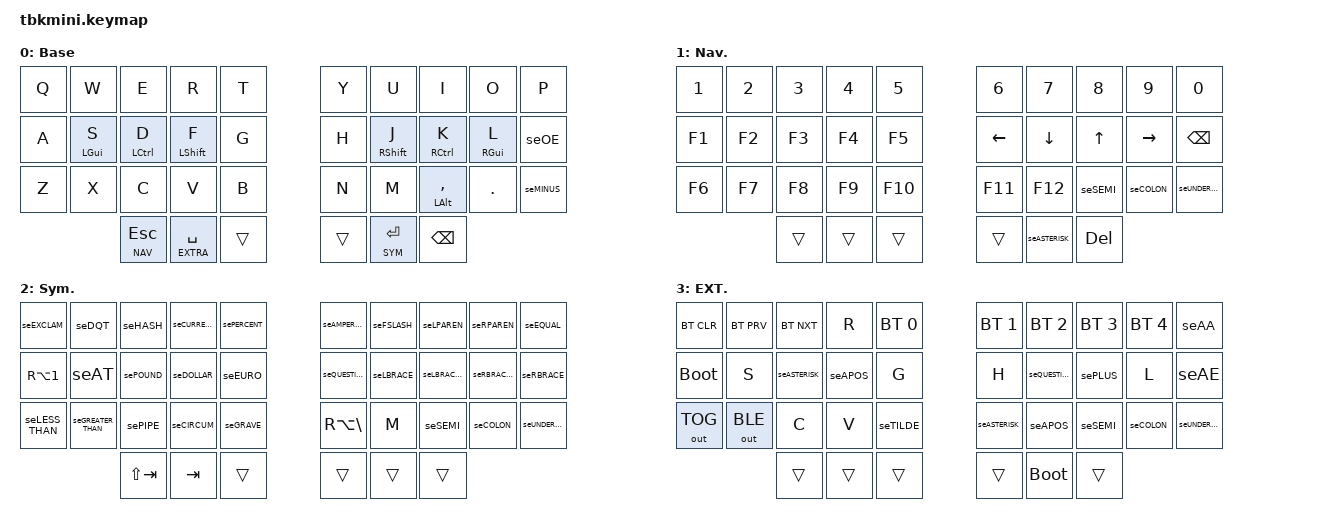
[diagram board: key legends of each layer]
#include <behaviors.dtsi>
#include <dt-bindings/zmk/keys.h>
#include <dt-bindings/zmk/bt.h>
#include <dt-bindings/zmk/outputs.h>
#include "swedish.dtsi"

#define DEFAULT 0
#define NAV 1
#define SYM 2
#define EXTRA 3

// &caps_word {
//    continue-list = <LSHIFT UNDERSCORE MINUS BSPC>;
// };

&sk {
	// don't release mods on other mods presses
	ignore-modifiers;
};

/ {
  chosen {
    zmk,matrix_transform = &skeletyl_transform;
  };


	behaviors {
		// Enables holding the first mod-tap key
		// by performing a tap-release-hold sequence.
		// To use it: "&qt KEYCODE1 KEYCODE2"
		/* qt: quick_tap {
			compatible = "zmk,behavior-hold-tap";
			label = "QUICK_TAP";
			#binding-cells = <2>;
			flavor = "hold-preferred";
			tapping-term-ms = <200>;
			quick-tap-ms = <200>;
			bindings = <&kp>, <&kp>;
		}; */
        bhm: balanced_homerow_mods {
            compatible = "zmk,behavior-hold-tap";
            #binding-cells = <2>;
            tapping-term-ms = <200>;    // <---[[moderate duration]]
            quick-tap-ms = <0>;
            flavor = "balanced";
            bindings = <&kp>, <&kp>;
        };
	};

	macros {
		// sometimes my device thinks a modifier is being held down
		// pressing all modifiers fixes it.
		unstick: unstick {
			label = "ZM_unstick";
			compatible = "zmk,behavior-macro";
			#binding-cells = <0>;
			bindings = <&kp LSHIFT &kp RSHIFT &kp LCTRL &kp RCTRL &kp LALT &kp RALT &kp LGUI &kp RGUI>;
		};
	};


/*                KEY POSITIONS

  ╭────────────────────╮ ╭────────────────────╮
  │  0   1   2   3   4 │ │  5   6   7   8   9 │
  │ 10  11  12  13  14 │ │ 15  16  17  18  19 │
  │ 20  21  22  23  24 │ │ 25  26  27  28  29 │
  ╰──────── 30  31  32 │ │ 33  34  35 ────────╯
              ╰────────╯ ╰────────╯
*/



  	keymap {
		compatible = "zmk,keymap";
		// Base alpha layer
		default_layer {
			label = "Base";
             bindings = <
        //╭──────────┬──────────┬──────────┬──────────┬──────────╮   ╭──────────┬──────────┬──────────┬──────────┬──────────╮
        //│  Q       │  W       │  E       │  R       │  T       │   │  Y       │  U       │  I       │  O       │  P       │
            &kp Q      &kp W      &kp E      &kp R      &kp T          &kp Y      &kp U      &kp I      &kp O      &kp P
        //├──────────┼──────────┼──────────┼──────────┼──────────┤   ├──────────┼──────────┼──────────┼──────────┼──────────┤
        //│  A       │  S       │  D       │  F       │  G       │   │  H       │  J       │  K       │  L       │  Ö       │
    &kp A     &bhm LEFT_GUI S     &bhm LEFT_CONTROL D  &bhm LEFT_SHIFT F &kp G &kp H  &bhm RIGHT_SHIFT J     &bhm RIGHT_CONTROL K &bhm RIGHT_GUI L  &kp seOE
        //├──────────┼──────────┼──────────┼──────────┼──────────┤   ├──────────┼──────────┼──────────┼──────────┼──────────┤
        //│  Z       │  X       │  C       │  V       │  B       │   │  N       │  M       │ , <      │ . >      │ -        │
             &kp Z    &kp X       &kp C      &kp V      &kp B          &kp N   &kp M   &bhm LEFT_ALT COMMA  &kp DOT    &kp seMINUS
        //╰──────────┴──────────┴──────────┼──────────┼──────────┤   ├──────────┼──────────┼──────────┼──────────┴──────────╯
                                   &lt NAV ESC &lt EXTRA SPACE &trans  &trans   &lt SYM ENTER &kp BSPC
        //                      ╰──────────┴──────────┴──────────╯   ╰──────────┴──────────┴──────────╯
            >;
		};

		nav_layer {
			label = "Nav.";
             bindings = <
        //╭──────────┬──────────┬──────────┬──────────┬──────────╮   ╭──────────┬──────────┬──────────┬──────────┬──────────╮
        //│  1       │  2       │  3       │  4       │  5       │   │  6       │  7       │  8       │  9       │  0       │
            &kp N1      &kp N2    &kp N3   &kp N4      &kp N5          &kp N6      &kp N7    &kp N8      &kp N9     &kp N0
        //├──────────┼──────────┼──────────┼──────────┼──────────┤   ├──────────┼──────────┼──────────┼──────────┼──────────┤
        //│  A       │  S       │  D       │  F       │  G       │   │  H       │  J       │  K       │  L       │BACKSPACE │
            &kp F1      &kp F2   &kp F3       &kp F4     &kp F5         &kp LEFT   &kp DOWN   &kp UP     &kp RIGHT &kp BSPC
        //├──────────┼──────────┼──────────┼──────────┼──────────┤   ├──────────┼──────────┼──────────┼──────────┼──────────┤
        //│  Z       │  X       │  C       │  V       │  B       │   │  N       │  M       │ , <      │ . >      │ ENTER    │
            &kp F6      &kp F7     &kp F8     &kp F9     &kp F10        &kp F11    &kp F12 &kp seSEMI &kp seCOLON &kp seUNDERSCORE
        //╰──────────┴──────────┴──────────┼──────────┼──────────┤   ├──────────┼──────────┼──────────┼──────────┴──────────╯
                                 &trans      &trans    &trans          &trans  &kp seASTERISK &kp DEL
        //                      ╰──────────┴──────────┴──────────╯   ╰──────────┴──────────┴──────────╯
            >;
		};

		sym_layer {
			label = "Sym.";
            bindings = <
        //╭──────────┬──────────┬──────────┬──────────┬──────────╮   ╭──────────┬──────────┬──────────┬──────────┬──────────╮
        //│  !       │  "       │  #       │  ¤       │  %       │   │  &       │  /       │  (       │  )       │  =       │
            &kp seEXCLAM &kp seDQT &kp seHASH &kp seCURRENCY &kp sePERCENT    &kp seAMPERSAND &kp seFSLASH &kp seLPAREN  &kp seRPAREN &kp seEQUAL
        //├──────────┼──────────┼──────────┼──────────┼──────────┤   ├──────────┼──────────┼──────────┼──────────┼──────────┤
        //│          │  @       │  £       │  $       │  €       │   │  ?       │  {       │  [       │  ]       │  }       │
            &kp RA(N1) &kp seAT &kp sePOUND &kp seDOLLAR &kp seEURO    &kp seQUESTION &kp seLBRACE &kp seLBRACKET &kp seRBRACKET &kp seRBRACE
        //├──────────┼──────────┼──────────┼──────────┼──────────┤   ├──────────┼──────────┼──────────┼──────────┼──────────┤
        //│  <       │  >       │  |       │  ^       │  `       │   │          │  M       │  ;       │  :       │  _       │
 &kp seLESS_THAN &kp seGREATER_THAN &kp sePIPE &kp seCIRCUM &kp seGRAVE &kp RA(BACKSLASH) &kp M &kp seSEMI &kp seCOLON &kp seUNDERSCORE

        //╰──────────┴──────────┴──────────┼──────────┼──────────┤   ├──────────┼──────────┼──────────┼──────────┴──────────╯
                                   &kp LS(TAB) &kp TAB  &trans         &trans      &trans     &trans
        //                      ╰──────────┴──────────┴──────────╯   ╰──────────┴──────────┴──────────╯
            >;
		};

		extra_layer {
            label = "EXT.";
            bindings = <
        //╭──────────┬──────────┬──────────┬──────────┬──────────╮   ╭──────────┬──────────┬──────────┬──────────┬──────────╮
        //│  Q       │  W       │  E       │  R       │  T       │   │  Y       │  U       │  I       │  O       │  Å       │
            &bt BT_CLR  &bt BT_PRV &bt BT_NXT &kp R &bt BT_SEL 0 &bt BT_SEL 1 &bt BT_SEL 2 &bt BT_SEL 3 &bt BT_SEL 4 &kp seAA
        //├──────────┼──────────┼──────────┼──────────┼──────────┤   ├──────────┼──────────┼──────────┼──────────┼──────────┤
        //│  A       │  S       │  D       │  F       │  G       │   │  H       │  J       │  K       │  L       │  Ä       │
      &bootloader   &kp S &kp seASTERISK &kp seAPOS &kp G   &kp H     &kp seQUESTION &kp sePLUS &kp L   &kp seAE
        //├──────────┼──────────┼──────────┼──────────┼──────────┤   ├──────────┼──────────┼──────────┼──────────┼──────────┤
        //│  Z       │  X       │  C       │  V       │  B       │   │  N       │  M       │  ;       │  :       │  _       │
   &out OUT_TOG &out OUT_BLE &kp C    &kp V   &kp seTILDE  &kp seASTERISK &kp seAPOS &kp seSEMI &kp seCOLON &kp seUNDERSCORE
        //╰──────────┴──────────┴──────────┼──────────┼──────────┤   ├──────────┼──────────┼──────────┼──────────┴──────────╯
                                    &trans    &trans     &trans          &trans    &bootloader &trans
        //                      ╰──────────┴──────────┴──────────╯   ╰──────────┴──────────┴──────────╯
            >;
		};
	};
};
